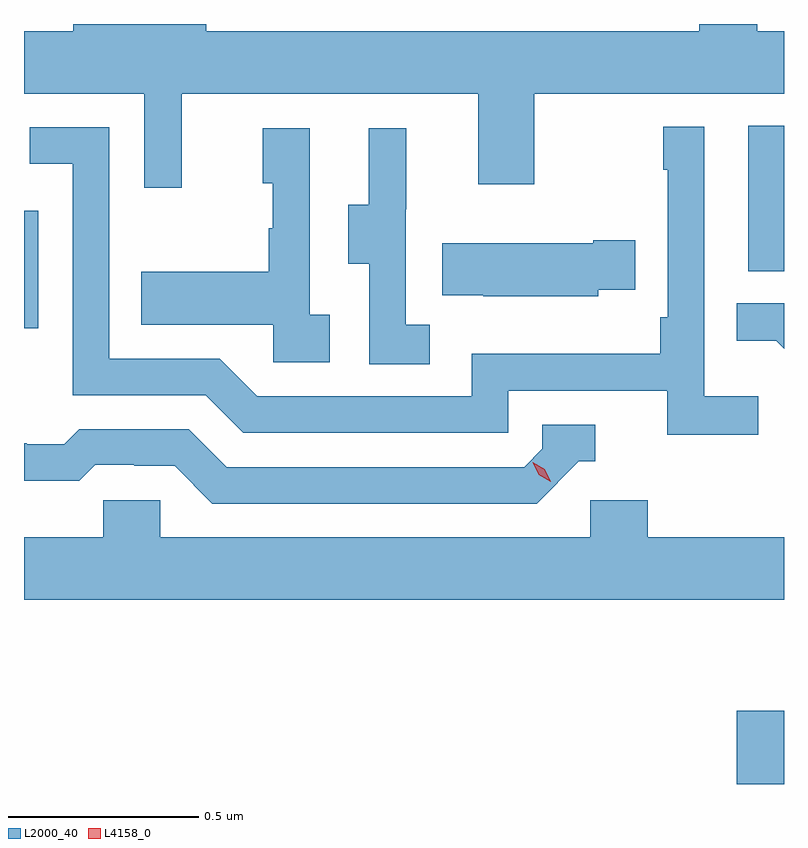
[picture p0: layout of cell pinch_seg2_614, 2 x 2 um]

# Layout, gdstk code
import gdstk
lib = gdstk.Library(unit=1e-6, precision=1e-09)
def R(c, l, rs):  # rectangles x0, y0, x1, y1
    for r in rs: c.add(gdstk.rectangle(r[:2], r[2:], *l))
def P(c, l, *ps):  # polygons
    for p in ps: c.add(gdstk.Polygon(p, *l))
L2000_40 = (2000, 40)
L4158_0 = (4158, 0)

pinch_seg2_614 = lib.new_cell('pinch_seg2_614')
R(pinch_seg2_614, L2000_40, [(1073.978,615.183,1074.102,615.376), (1072.102,616.383,1072.14,616.692), (1074.008,616.533,1074.102,616.915)])
P(pinch_seg2_614, L2000_40, [(1073.879,617.183),(1073.879,617.164),(1072.582,617.164),(1072.582,617.183),(1072.232,617.183),(1072.232,617.164),(1072.102,617.164),(1072.102,617),(1072.419,617),(1072.419,616.752),(1072.517,616.752),(1072.517,617),(1073.297,617),(1073.297,616.761),(1073.445,616.761),(1073.445,617),(1074.102,617),(1074.102,617.164),(1074.031,617.164),(1074.031,617.183)],
  [(1074.034,616.204),(1073.892,616.204),(1073.892,616.912),(1073.784,616.912),(1073.784,616.799),(1073.796,616.799),(1073.796,616.411),(1073.776,616.411),(1073.776,616.315),(1073.28,616.315),(1073.28,616.203),(1072.716,616.203),(1072.617,616.302),(1072.326,616.302),(1072.326,616.911),(1072.117,616.911),(1072.117,616.815),(1072.23,616.815),(1072.23,616.206),(1072.58,616.206),(1072.679,616.107),(1073.376,616.107),(1073.376,616.218),(1073.795,616.218),(1073.795,616.102),(1074.034,616.102)],
  [(1072.906,616.418),(1072.854,616.418),(1072.854,616.909),(1072.73,616.909),(1072.73,616.764),(1072.756,616.764),(1072.756,616.646),(1072.746,616.646),(1072.746,616.531),(1072.411,616.531),(1072.411,616.391),(1072.758,616.391),(1072.758,616.293),(1072.906,616.293)],
  [(1073.17,616.391),(1073.106,616.391),(1073.106,616.695),(1073.108,616.695),(1073.108,616.909),(1073.009,616.909),(1073.009,616.707),(1072.955,616.707),(1072.955,616.552),(1073.01,616.552),(1073.01,616.288),(1073.17,616.288)],
  [(1073.613,616.484),(1073.711,616.484),(1073.711,616.614),(1073.6,616.614),(1073.6,616.606),(1073.203,616.606),(1073.203,616.469),(1073.311,616.469),(1073.311,616.466),(1073.613,616.466)],
  [(1074.102,616.448),(1073.977,616.448),(1073.977,616.349),(1074.081,616.349),(1074.102,616.328)],
  [(1073.562,616.032),(1073.605,616.032),(1073.605,616.128),(1073.466,616.128),(1073.466,616.065),(1073.418,616.017),(1072.635,616.017),(1072.536,616.116),(1072.247,616.116),(1072.208,616.077),(1072.109,616.077),(1072.109,616.08),(1072.102,616.08),(1072.102,615.981),(1072.247,615.981),(1072.289,616.023),(1072.392,616.023),(1072.392,616.02),(1072.499,616.02),(1072.598,615.921),(1073.451,615.921)],
  [(1074.102,615.832),(1073.744,615.832),(1073.744,615.93),(1073.592,615.93),(1073.592,615.832),(1072.461,615.832),(1072.461,615.93),(1072.311,615.93),(1072.311,615.832),(1072.102,615.832),(1072.102,615.668),(1074.102,615.668)])
P(pinch_seg2_614, L4158_0, [(1073.488,615.978),(1073.457,615.997),(1073.441,616.03),(1073.441,616.03),(1073.441,616.03),(1073.472,616.011),(1073.488,615.978),(1073.488,615.978)])

lib.write_gds('pinch_seg2_614.gds')
